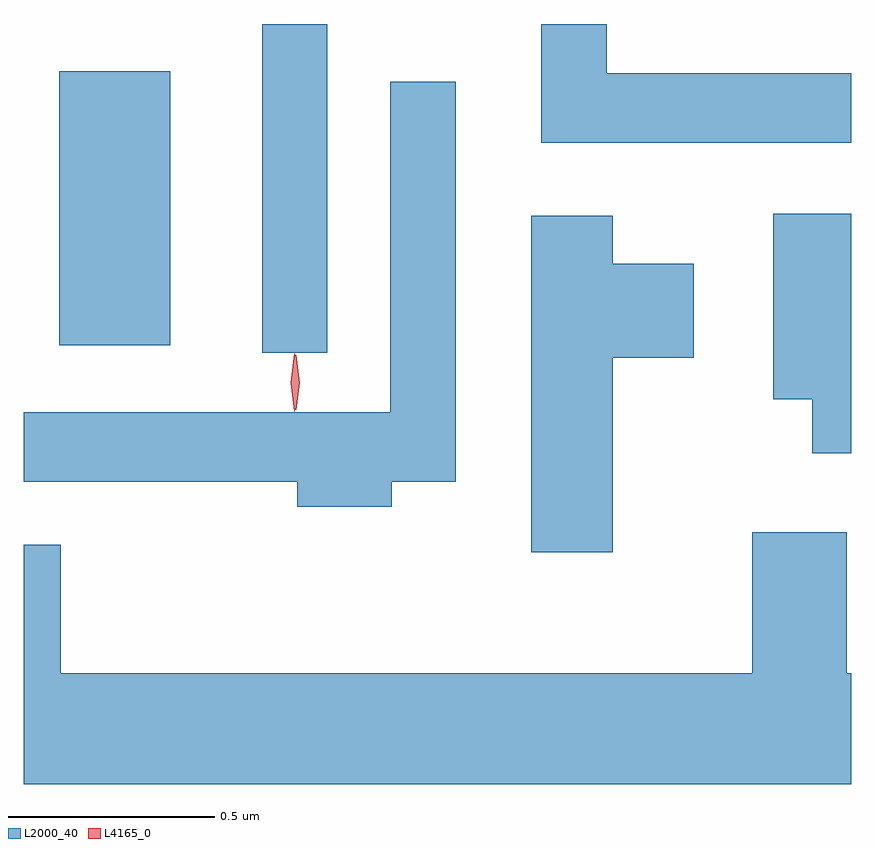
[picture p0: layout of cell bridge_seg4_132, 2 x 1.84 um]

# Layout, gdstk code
import gdstk
lib = gdstk.Library(unit=1e-6, precision=1e-09)
def R(c, l, rs):  # rectangles x0, y0, x1, y1
    for r in rs: c.add(gdstk.rectangle(r[:2], r[2:], *l))
def P(c, l, *ps):  # polygons
    for p in ps: c.add(gdstk.Polygon(p, *l))
L2000_40 = (2000, 40)
L4165_0 = (4165, 0)

bridge_seg4_132 = lib.new_cell('bridge_seg4_132')
R(bridge_seg4_132, L2000_40, [(888.416,1269.138,888.574,1269.933), (887.926,1269.156,888.194,1269.819)])
P(bridge_seg4_132, L2000_40, [(889.84,1269.814),(889.249,1269.814),(889.249,1269.933),(889.091,1269.933),(889.091,1269.646),(889.84,1269.646)],
  [(888.729,1268.826),(888.884,1268.826),(888.884,1269.793),(888.726,1269.793),(888.726,1268.994),(887.84,1268.994),(887.84,1268.826),(888.501,1268.826),(888.501,1268.766),(888.729,1268.766)],
  [(889.84,1269.474),(889.651,1269.474),(889.651,1269.026),(889.746,1269.026),(889.746,1268.896),(889.84,1268.896)],
  [(889.264,1269.126),(889.459,1269.126),(889.459,1269.354),(889.264,1269.354),(889.264,1269.469),(889.066,1269.469),(889.066,1268.656),(889.264,1268.656)],
  [(889.84,1268.364),(889.829,1268.364),(889.829,1268.704),(889.601,1268.704),(889.601,1268.364),(887.929,1268.364),(887.929,1268.674),(887.84,1268.674),(887.84,1268.096),(889.84,1268.096)])
P(bridge_seg4_132, L4165_0, [(888.497,1269),(888.487,1269.066),(888.496,1269.132),(888.497,1269.133),(888.498,1269.132),(888.507,1269.066),(888.498,1269),(888.498,1269)],
  [(888.494,1268.997),(888.485,1269.066),(888.494,1269.136),(888.495,1269.136),(888.495,1269.136),(888.505,1269.066),(888.495,1268.997),(888.495,1268.997)])

lib.write_gds('bridge_seg4_132.gds')
